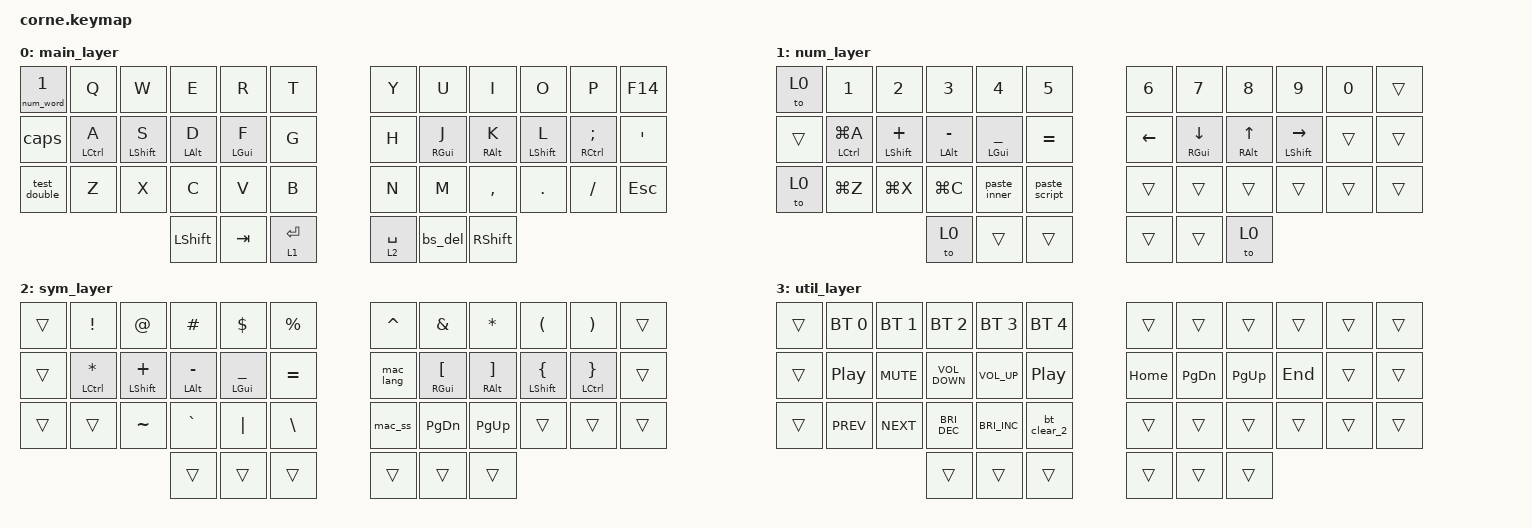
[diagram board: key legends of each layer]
/*
 * Copyright (c) 2020 The ZMK Contributors
 *
 * SPDX-License-Identifier: MIT
 */

#include <behaviors/num_word.dtsi>
#include <behaviors.dtsi>
#include <dt-bindings/zmk/bt.h>
#include <dt-bindings/zmk/keys.h>

&mt {
    flavor = "balanced";
    tapping-term-ms = <180>;
    quick-tap-ms = <0>;
};

&lt { tapping-term-ms = <150>; };

/ {
    combos { compatible = "zmk,combos"; };

    behaviors {
        bs_del: bs_del {
            compatible = "zmk,behavior-mod-morph";
            label = "Backspace and Delete";
            bindings = <&kp BACKSPACE>, <&kp DELETE>;

            #binding-cells = <0>;
            mods = <(MOD_LSFT|MOD_RSFT)>;
        };

        bt_clear_2: bt_clear_2 {
            compatible = "zmk,behavior-tap-dance";
            label = "Double Tap: BT Clear";
            #binding-cells = <0>;
            bindings = <&none>, <&bt BT_CLR>;

            tapping-term-ms = <200>;
        };

        right_hrm: right_hrm {
            compatible = "zmk,behavior-hold-tap";
            label = "RIGHT_HRM";
            bindings = <&kp>, <&kp>;

            #binding-cells = <2>;
            tapping-term-ms = <280>;
            quick-tap-ms = <175>;
            require-prior-idle-ms = <150>;
            flavor = "balanced";
            hold-trigger-key-positions = <36 37 38 39 40 41 0 1 2 3 4 5 12 13 14 15 16 17 24 25 26 27 28 29>;
            hold-trigger-on-release;
        };

        left_hrm: left_hrm {
            compatible = "zmk,behavior-hold-tap";
            label = "LEFT_HRM";
            bindings = <&kp>, <&kp>;

            #binding-cells = <2>;
            tapping-term-ms = <280>;
            quick-tap-ms = <175>;
            require-prior-idle-ms = <150>;
            flavor = "balanced";
            hold-trigger-on-release;
            hold-trigger-key-positions = <6 7 8 9 10 11 18 19 20 21 22 23 30 31 32 33 34 35 39 40 41 36 37 38>;
        };

        nav_word: nav_word {
            compatible = "zmk,behavior-auto-layer";
            #binding-cells = <1>;
            continue-list = <LEFT DOWN UP RIGHT PG_DN PG_UP HOME END>;
            ignore-modifiers;
        };

        paste_inner: paste_inner {
            compatible = "zmk,behavior-tap-dance";
            label = "PASTE_INNER";
            #binding-cells = <0>;
            bindings = <&kp LG(V)>, <&dacs_paste>;
        };

        paste: paste {
            compatible = "zmk,behavior-hold-tap";
            label = "PASTE";
            bindings = <&paste_script>, <&paste_inner>;

            #binding-cells = <2>;
            tapping-term-ms = <200>;
            quick-tap-ms = <175>;
            flavor = "balanced";
        };

        mod_bs_del: mod_bs_del {
            compatible = "zmk,behavior-hold-tap";
            label = "MOD_BS_DEL";
            bindings = <&kp>, <&bs_del>;

            #binding-cells = <2>;
            tapping-term-ms = <180>;
        };

        test_double: test_double {
            compatible = "zmk,behavior-tap-dance";
            label = "TEST_DOUBLE";
            #binding-cells = <0>;
            bindings = <&none>, <&test>;

            tapping-term-ms = <200>;
        };

        caps: caps {
            compatible = "zmk,behavior-tap-dance";
            label = "CAPS";
            #binding-cells = <0>;
            bindings = <&caps_word>, <&kp CAPSLOCK>;
        };
    };

    macros {
        mac_lang: mac_lang {
            compatible = "zmk,behavior-macro";
            #binding-cells = <0>;
            bindings = <&kp F13>;
            label = "MAC_LANG";
        };

        mac_ss: mac_ss {
            compatible = "zmk,behavior-macro";
            #binding-cells = <0>;
            bindings = <&kp LS(LG(A))>;
            label = "MAC_SS";
        };

        paste_script: paste_script {
            compatible = "zmk,behavior-macro";
            #binding-cells = <0>;
            bindings = <&kp LC(LG(V))>;
            label = "PASTE_SCRIPT";
        };

        dacs_paste: dacs_paste {
            compatible = "zmk,behavior-macro";
            #binding-cells = <0>;
            bindings = <&kp LS(LG(V))>, <&macro_wait_time 150>, <&kp RETURN>;

            label = "DACS_PASTE";
        };

        test: test {
            compatible = "zmk,behavior-macro";
            #binding-cells = <0>;
            bindings = <&kp T &kp E &kp S &kp T &kp T &kp E &kp S &kp T &kp N2 &kp N4 &kp RETURN>;
            label = "TEST";
        };
    };

    keymap {
        compatible = "zmk,keymap";

        main_layer {
            bindings = <
&num_word 1   &kp Q              &kp W              &kp E             &kp R             &kp T          &kp Y        &kp U              &kp I              &kp O               &kp P                  &kp F14
&caps         &left_hrm LCTRL A  &left_hrm LSHFT S  &left_hrm LALT D  &left_hrm LGUI F  &kp G          &kp H        &right_hrm RGUI J  &right_hrm RALT K  &right_hrm LSHFT L  &right_hrm RCTRL SEMI  &kp SQT
&test_double  &kp Z              &kp X              &kp C             &kp V             &kp B          &kp N        &kp M              &kp COMMA          &kp DOT             &kp FSLH               &kp ESC
                                                    &kp LEFT_SHIFT    &kp TAB           &lt 1 ENTER    &lt 2 SPACE  &bs_del            &kp RIGHT_SHIFT
            >;
        };

        num_layer {
            bindings = <
&to 0   &kp N1                 &kp N2                &kp N3                &kp N4                &kp N5           &kp N6    &kp N7                &kp N8              &kp N9                  &kp N0  &trans
&trans  &left_hrm LCTRL LG(A)  &left_hrm LSHFT PLUS  &left_hrm LALT MINUS  &left_hrm LGUI UNDER  &kp EQUAL        &kp LEFT  &right_hrm RGUI DOWN  &right_hrm RALT UP  &right_hrm LSHFT RIGHT  &trans  &trans
&to 0   &kp LG(Z)              &kp LG(X)             &kp LG(C)             &paste_inner          &paste_script    &trans    &trans                &trans              &trans                  &trans  &trans
                                                     &to 0                 &trans                &trans           &trans    &trans                &to 0
            >;
        };

        sym_layer {
            bindings = <
&trans  &kp EXCL               &kp AT                &kp HASH              &kp DLLR              &kp PRCNT    &kp CARET  &kp AMPS              &kp ASTRK             &kp LPAR               &kp RPAR               &trans
&trans  &left_hrm LCTRL ASTRK  &left_hrm LSHFT PLUS  &left_hrm LALT MINUS  &left_hrm LGUI UNDER  &kp EQUAL    &mac_lang  &right_hrm RGUI LBKT  &right_hrm RALT RBKT  &right_hrm LSHFT LBRC  &right_hrm LCTRL RBRC  &trans
&trans  &trans                 &kp TILDE             &kp GRAVE             &kp PIPE              &kp BSLH     &mac_ss    &kp PG_DN             &kp PG_UP             &trans                 &trans                 &trans
                                                     &trans                &trans                &trans       &trans     &trans                &trans
            >;
        };

        util_layer {
            bindings = <
&trans  &bt BT_SEL 0  &bt BT_SEL 1  &bt BT_SEL 2       &bt BT_SEL 3   &bt BT_SEL 4        &trans    &trans     &trans     &trans   &trans  &trans
&trans  &kp C_PP      &kp C_MUTE    &kp C_VOLUME_DOWN  &kp C_VOL_UP   &kp C_PLAY_PAUSE    &kp HOME  &kp PG_DN  &kp PG_UP  &kp END  &trans  &trans
&trans  &kp C_PREV    &kp C_NEXT    &kp C_BRI_DEC      &kp C_BRI_INC  &bt_clear_2         &trans    &trans     &trans     &trans   &trans  &trans
                                    &trans             &trans         &trans              &trans    &trans     &trans
            >;
        };
    };

    conditional_layers {
        compatible = "zmk,conditional-layers";

        Util {
            if-layers = <1 2>;
            then-layer = <3>;
        };
    };
};
